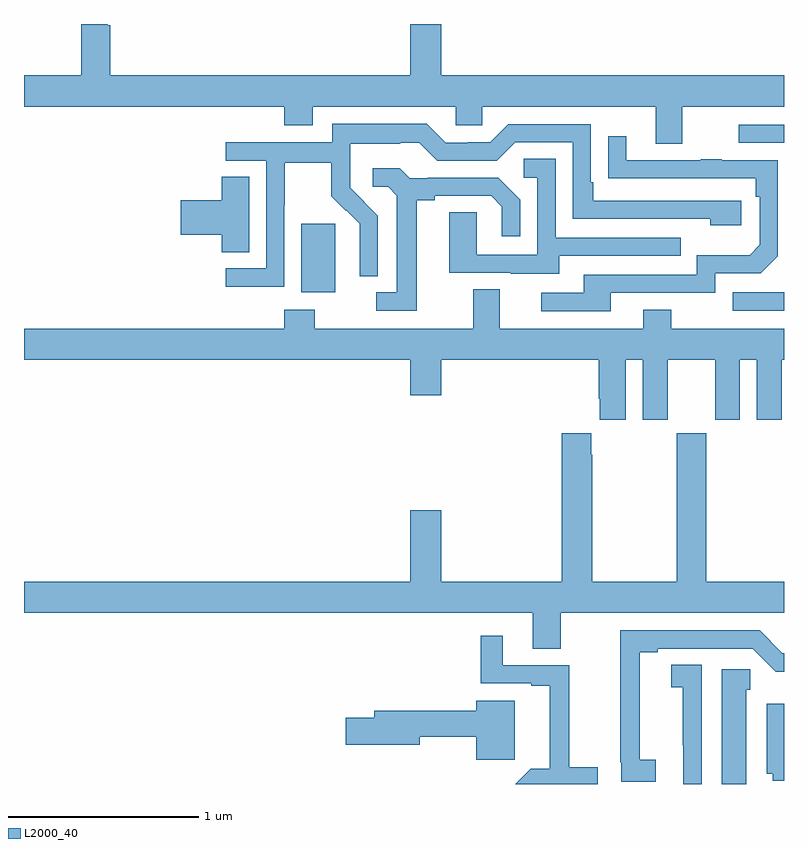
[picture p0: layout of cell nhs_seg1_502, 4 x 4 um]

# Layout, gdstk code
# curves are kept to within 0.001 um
import gdstk
lib = gdstk.Library(unit=1e-6, precision=1e-09)
def R(c, l, rs):  # rectangles x0, y0, x1, y1
    for r in rs: c.add(gdstk.rectangle(r[:2], r[2:], *l))
def P(c, l, *ps):  # polygons
    for p in ps: c.add(gdstk.Polygon(p, *l))
L2000_40 = (2000, 40)

nhs_seg1_502 = lib.new_cell('nhs_seg1_502')
R(nhs_seg1_502, L2000_40, [(142.731,518.691,143,518.787), (140.459,518.786,140.638,519.147), (142.761,519.573,143,519.669), (139.017,520.197,139.165,520.199)])
P(nhs_seg1_502, L2000_40, [(142.465,519.764),(143,519.764),(143,519.928),(141.196,519.928),(141.196,520.199),(141.032,520.199),(141.032,519.928),(139.454,519.928),(139.454,520.193),(139.441,520.193),(139.441,520.199),(139.301,520.199),(139.301,519.928),(139,519.928),(139,519.764),(140.369,519.764),(140.369,519.665),(140.521,519.665),(140.521,519.764),(141.273,519.764),(141.273,519.666),(141.411,519.666),(141.411,519.764),(142.325,519.764),(142.325,519.57),(142.465,519.57)],
  [(140.37,519.244),(140.373,519.244),(140.373,519.468),(140.617,519.468),(140.617,519.293),(140.694,519.216),(140.697,519.219),(140.768,519.149),(140.768,519.026),(140.766,519.026),(140.766,518.872),(140.862,518.872),(140.862,519.19),(140.716,519.338),(140.716,519.435),(140.718,519.435),(140.718,519.569),(140.981,519.569),(140.981,519.573),(141.081,519.573),(141.174,519.48),(141.489,519.48),(141.585,519.576),(141.888,519.576),(141.888,519.174),(142.613,519.174),(142.613,519.14),(142.774,519.14),(142.774,519.27),(141.997,519.27),(141.997,519.367),(141.984,519.367),(141.984,519.672),(141.549,519.672),(141.453,519.576),(141.335,519.576),(141.335,519.573),(141.219,519.573),(141.119,519.673),(140.622,519.673),(140.622,519.576),(140.061,519.576),(140.061,519.48),(140.274,519.48),(140.274,518.913),(140.061,518.913),(140.061,518.815),(140.37,518.815)],
  [(142.087,518.784),(142.638,518.784),(142.638,518.886),(142.878,518.886),(142.968,518.976),(142.968,519.483),(142.673,519.483),(142.673,519.488),(142.561,519.488),(142.561,519.483),(142.171,519.483),(142.171,519.607),(142.075,519.607),(142.075,519.388),(142.852,519.387),(142.852,519.29),(142.872,519.29),(142.872,519.036),(142.819,518.983),(142.542,518.983),(142.542,518.88),(141.947,518.88),(141.947,518.784),(141.723,518.784),(141.723,518.688),(142.087,518.688)],
  [(141.817,518.979),(142.457,518.979),(142.457,519.075),(141.798,519.075),(141.798,519.491),(141.63,519.491),(141.63,519.39),(141.702,519.39),(141.702,518.985),(141.384,518.985),(141.384,519.209),(141.239,519.209),(141.239,518.889),(141.563,518.889),(141.563,518.885),(141.817,518.885)],
  [(141.067,519.272),(141.163,519.272),(141.163,519.294),(141.458,519.294),(141.515,519.237),(141.515,519.081),(141.612,519.081),(141.612,519.274),(141.496,519.39),(141.124,519.39),(141.124,519.387),(141.03,519.387),(140.978,519.439),(140.835,519.439),(140.835,519.342),(140.916,519.342),(140.963,519.295),(140.963,518.787),(140.853,518.787),(140.853,518.691),(141.067,518.691)],
  [(140.185,519.395),(140.042,519.395),(140.042,519.272),(139.824,519.272),(139.824,519.089),(140.042,519.089),(140.042,518.998),(140.185,518.998)],
  [(142.168,518.432),(142.256,518.432),(142.256,518.115),(142.387,518.115),(142.387,518.432),(142.637,518.432),(142.637,518.115),(142.768,518.115),(142.768,518.432),(142.856,518.432),(142.856,518.115),(142.987,518.115),(142.987,518.432),(143,518.432),(143,518.596),(142.407,518.596),(142.407,518.695),(142.259,518.695),(142.259,518.596),(141.505,518.596),(141.505,518.804),(141.365,518.804),(141.365,518.596),(140.529,518.596),(140.529,518.695),(140.369,518.695),(140.369,518.596),(139,518.596),(139,518.432),(141.032,518.432),(141.032,518.244),(141.196,518.244),(141.196,518.432),(142.025,518.432),(142.025,518.227),(142.031,518.227),(142.031,518.115),(142.168,518.115)],
  [(141.825,517.1),(143,517.1),(143,517.264),(142.59,517.264),(142.59,518.044),(142.435,518.044),(142.435,517.264),(141.99,517.264),(141.99,517.931),(141.985,517.931),(141.985,518.044),(141.83,518.044),(141.83,517.264),(141.196,517.264),(141.196,517.639),(141.032,517.639),(141.032,517.264),(139,517.264),(139,517.1),(141.677,517.1),(141.677,516.91),(141.825,516.91)],
  [(142.324,516.326),(142.242,516.326),(142.24,516.892),(142.336,516.892),(142.336,516.912),(142.836,516.912),(142.957,516.791),(143,516.791),(143,516.888),(142.992,516.888),(142.872,517.008),(142.138,517.008),(142.138,516.313),(142.144,516.313),(142.144,516.211),(142.324,516.211)],
  [(142.02,516.287),(141.869,516.287),(141.869,516.825),(141.52,516.825),(141.52,516.979),(141.403,516.979),(141.403,516.729),(141.671,516.729),(141.671,516.717),(141.767,516.717),(141.767,516.28),(141.667,516.28),(141.586,516.199),(142.02,516.199)],
  [(142.566,516.827),(142.407,516.827),(142.407,516.707),(142.468,516.707),(142.468,516.403),(142.469,516.403),(142.469,516.199),(142.566,516.199)],
  [(142.801,516.696),(142.823,516.696),(142.823,516.802),(142.673,516.802),(142.673,516.199),(142.801,516.199)],
  [(141.583,516.637),(141.38,516.637),(141.38,516.584),(140.843,516.584),(140.843,516.548),(140.694,516.548),(140.694,516.406),(141.082,516.406),(141.082,516.448),(141.38,516.448),(141.38,516.327),(141.583,516.327)],
  [(143,516.621),(142.91,516.621),(142.91,516.254),(142.942,516.254),(142.942,516.217),(143,516.217)])

lib.write_gds('nhs_seg1_502.gds')
